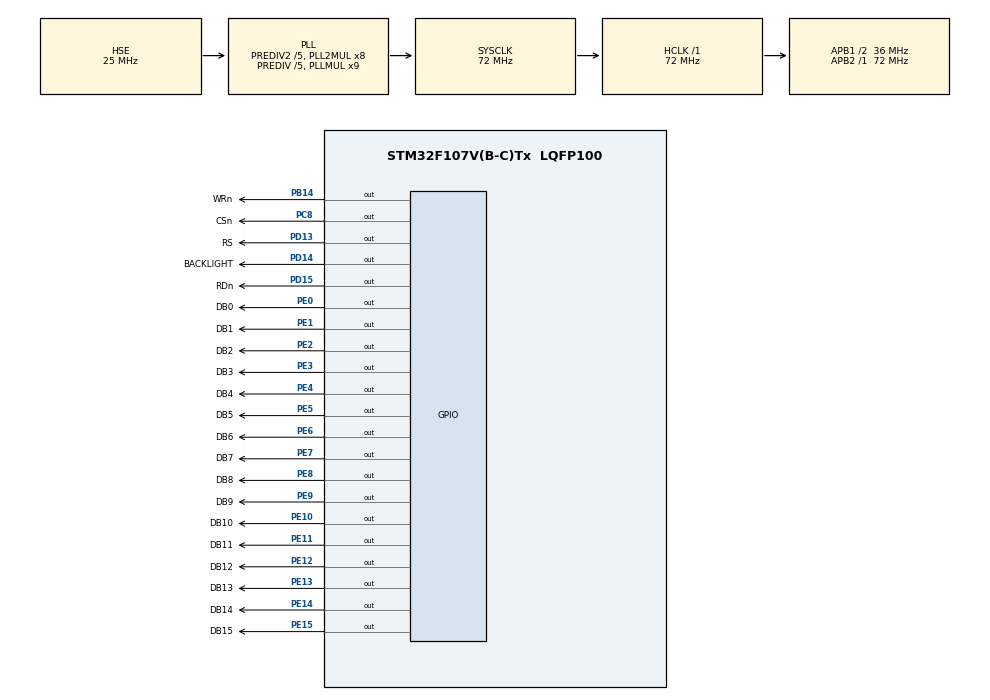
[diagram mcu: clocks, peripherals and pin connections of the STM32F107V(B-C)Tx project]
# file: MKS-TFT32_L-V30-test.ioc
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Mcu.Family=STM32F1
Mcu.Name=STM32F107V(B-C)Tx
Mcu.Package=LQFP100
NVIC.PriorityGroup=NVIC_PRIORITYGROUP_4
OSC_IN.Mode=HSE-External-Oscillator
OSC_IN.Signal=RCC_OSC_IN
OSC_OUT.Mode=HSE-External-Oscillator
OSC_OUT.Signal=RCC_OSC_OUT
PA13.Mode=Serial_Wire
PA13.Signal=SYS_JTMS-SWDIO
PA14.Mode=Serial_Wire
PA14.Signal=SYS_JTCK-SWCLK
PB14.GPIO_Label=WRn
PB14.Signal=GPIO_Output
PC14-OSC32_IN.Mode=LSE-External-Oscillator
PC14-OSC32_IN.Signal=RCC_OSC32_IN
PC15-OSC32_OUT.Mode=LSE-External-Oscillator
PC15-OSC32_OUT.Signal=RCC_OSC32_OUT
PC8.GPIO_Label=CSn
PC8.Signal=GPIO_Output
PD13.GPIO_Label=RS
PD13.Signal=GPIO_Output
PD14.GPIO_Label=BACKLIGHT
PD14.Signal=GPIO_Output
PD15.GPIO_Label=RDn
PD15.Signal=GPIO_Output
PE0.GPIO_Label=DB0
PE0.Signal=GPIO_Output
PE1.GPIO_Label=DB1
PE1.Signal=GPIO_Output
PE10.GPIO_Label=DB10
PE10.Signal=GPIO_Output
PE11.GPIO_Label=DB11
PE11.Signal=GPIO_Output
PE12.GPIO_Label=DB12
PE12.Signal=GPIO_Output
PE13.GPIO_Label=DB13
PE13.Signal=GPIO_Output
PE14.GPIO_Label=DB14
PE14.Signal=GPIO_Output
PE15.GPIO_Label=DB15
PE15.Signal=GPIO_Output
PE2.GPIO_Label=DB2
PE2.Signal=GPIO_Output
PE3.GPIO_Label=DB3
PE3.Signal=GPIO_Output
PE4.GPIO_Label=DB4
PE4.Signal=GPIO_Output
PE5.GPIO_Label=DB5
PE5.Signal=GPIO_Output
PE6.GPIO_Label=DB6
PE6.Signal=GPIO_Output
PE7.GPIO_Label=DB7
PE7.Signal=GPIO_Output
PE8.GPIO_Label=DB8
PE8.Signal=GPIO_Output
PE9.GPIO_Label=DB9
PE9.Signal=GPIO_Output
ProjectManager.HeapSize=0x200
ProjectManager.StackSize=0x400
ProjectManager.TargetToolchain=STM32CubeIDE
RCC.AHBFreq_Value=72000000
RCC.APB1CLKDivider=RCC_HCLK_DIV2
RCC.APB1Freq_Value=36000000
RCC.APB1TimFreq_Value=72000000
RCC.APB2Freq_Value=72000000
RCC.APB2TimFreq_Value=72000000
RCC.HCLKFreq_Value=72000000
RCC.HSEDivPLL=RCC_HSE_PREDIV_DIV5
RCC.HSE_VALUE=25000000
RCC.PLLMUL=RCC_PLL_MUL9
RCC.PLLSourceVirtual=RCC_PLLSOURCE_HSE
RCC.Prediv1Source=RCC_PREDIV1_SOURCE_PLL2
RCC.Prediv2=RCC_HSE_PREDIV2_DIV5
RCC.SYSCLKFreq_VALUE=72000000
RCC.SYSCLKSource=RCC_SYSCLKSOURCE_PLLCLK
RCC.USBFreq_Value=48000000
board=custom

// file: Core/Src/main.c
/* USER CODE BEGIN Header */
/**
 ******************************************************************************
 * @file           : main.c
 * @brief          : Main program body
 ******************************************************************************
 * @attention
 *
 * Copyright (c) 2025 STMicroelectronics.
 * All rights reserved.
 *
 * This software is licensed under terms that can be found in the LICENSE file
 * in the root directory of this software component.
 * If no LICENSE file comes with this software, it is provided AS-IS.
 *
 ******************************************************************************
 */
/* USER CODE END Header */
#include "main.h"

/* USER CODE BEGIN Includes */
#include "fonts.h"
#include "ili9325.h"
#include "lcd.h"
#include "lcd_io_gpio16.h"

/* USER CODE END Includes */

/* USER CODE BEGIN PD */

// Invertir bytes del 16-bit (LSB<->MSB en el bus):
#define MAP(c) (swap16(c))

/* USER CODE END PD */

void SystemClock_Config(void);
static void MX_GPIO_Init(void);

/* USER CODE BEGIN 0 */

// ---- utilidades de remapeo de color 565 sin tocar la lib ----
static inline uint8_t rev8(uint8_t x) { // invierte bits dentro del byte
  x = (x & 0xF0) >> 4 | (x & 0x0F) << 4;
  x = (x & 0xCC) >> 2 | (x & 0x33) << 2;
  x = (x & 0xAA) >> 1 | (x & 0x55) << 1;
  return x;
}
static inline uint16_t swap16(uint16_t v) { // invierte los bytes
  return (uint16_t)((v << 8) | (v >> 8));
}
static inline uint16_t
swap_rb(uint16_t c) { // intercambia R y B (RGB565 <-> BGR565)
  return (uint16_t)(((c & 0xF800) >> 11) | (c & 0x07E0) | ((c & 0x001F) << 11));
}

static void DrawChar_1bpp(uint16_t x, uint16_t y, char ch,

                          const sFONT *font,

                          uint16_t fg, uint16_t bg)

{

  if (ch < 32 || ch > 126)
    ch = '?';

  uint16_t w = font->Width;

  uint16_t h = font->Height;

  // bytes por fila = ceil(w/8)

  uint16_t rowBytes = (w + 7) >> 3;

  // offset del caracter dentro de la tabla

  uint32_t off = (uint32_t)(ch - 32) * h * rowBytes;

  for (uint16_t yy = 0; yy < h; yy++) {

    const uint8_t *row = &font->table[off + yy * rowBytes];

    uint8_t mask = 0x80;

    uint8_t byte = row[0];

    uint16_t bx = 0;

    for (uint16_t xx = 0; xx < w; xx++) {

      if ((xx & 7) == 0) {
        mask = 0x80;
        byte = row[xx >> 3];
      }

      uint16_t col = (byte & mask) ? fg : bg;

      mask >>= 1;

      ili9325_WritePixel(x + xx, y + yy, MAP(col));

      bx++;
    }
  }
}

void DrawString(uint16_t x, uint16_t y, const char *s,

                const sFONT *font, uint16_t fg, uint16_t bg)

{

  uint16_t cx = x;

  while (*s) {

    if (*s == '\n') {
      y += font->Height;
      cx = x;
      s++;
      continue;
    }

    DrawChar_1bpp(cx, y, *s, font, fg, bg);

    cx += font->Width;

    s++;
  }
}

/* USER CODE END 0 */

int main(void) {

  /* MCU Configuration--------------------------------------------------------*/

  /* Reset of all peripherals, Initializes the Flash interface and the Systick.
   */
  HAL_Init();

  /* Configure the system clock */
  SystemClock_Config();

  /* Initialize all configured peripherals */
  MX_GPIO_Init();
  /* USER CODE BEGIN 2 */
  LCD_IO_Init();
  LCD_IO_Bl_OnOff(1);

  // CS inactivo = 1, WR=1, RD=1, RS=1
  HAL_GPIO_WritePin(GPIOC, GPIO_PIN_8, GPIO_PIN_SET);  // CS
  HAL_GPIO_WritePin(GPIOB, GPIO_PIN_14, GPIO_PIN_SET); // WR
  HAL_GPIO_WritePin(GPIOD, GPIO_PIN_15, GPIO_PIN_SET); // RD
  HAL_GPIO_WritePin(GPIOD, GPIO_PIN_13, GPIO_PIN_SET); // RS

  ili9325_Init();
  ili9325_FillRect(0, 0, 240, 320, 0xF8F0);
  ili9325_FillRect(0, 0, 240, 320, 0xFFFF);

  HAL_Delay(200);

  ili9325_FillRect(0, 0, 240, 320, 0x0000);
  DrawString(10, 10, "ABCD", &Font24, 0xFFFF, 0x07E0);
  DrawString(10, 40, "TEST", &Font24, 0xF800, 0x0000);

  /* USER CODE END 2 */

  /* Infinite loop */
  while (1) {

    /* USER CODE BEGIN 3 */

    // Cambiar a RGB (bit12 = 1) + I/D = “right then down” (0x0030)
    LCD_IO_WriteCmd16(0x03);
    LCD_IO_WriteData16(0x1030); // RGB + X_RIGHT + Y_DOWN

    // Sin espejo (SS=0, GS=0), 320 líneas (NL = 0x27)
    LCD_IO_WriteCmd16(0x01);
    LCD_IO_WriteData16(0x0000); // SS=0

    // Barras de color
    ili9325_FillRect(0, 0, 240, 80, MAP(0xF800));   // ROJO
    ili9325_FillRect(0, 80, 240, 80, MAP(0x07E0));  // VERDE
    ili9325_FillRect(0, 160, 240, 80, MAP(0x001F)); // AZUL
    ili9325_FillRect(0, 240, 240, 80, MAP(0xFFFF)); // BLANCO

    DrawString(10, 10, "ROJO", &Font24, MAP(0xFFFF), MAP(0x0000));
    DrawString(10, 90, "VERDE", &Font24, MAP(0x0000), MAP(0x07E0));
    DrawString(10, 170, "AZUL", &Font24, MAP(0xFFFF), MAP(0x001F));

    HAL_Delay(1000);
  }
  /* USER CODE END 3 */
}

void SystemClock_Config(void) {

  // --- Limpieza de reloj para evitar el guard de PLL2 ---
  /* 1) Asegurar HSI encendido y conmutar SYSCLK a HSI */
  SET_BIT(RCC->CR, RCC_CR_HSION);
  while ((RCC->CR & RCC_CR_HSIRDY) == 0) { /* wait */
  }

  MODIFY_REG(RCC->CFGR, RCC_CFGR_SW, RCC_CFGR_SW_HSI);
  while ((RCC->CFGR & RCC_CFGR_SWS) != RCC_CFGR_SWS_HSI) { /* wait */
  }

  /* 2) Apagar PLL principal y PLL2 si estaban activos */
  if (RCC->CR & RCC_CR_PLLON) {
    CLEAR_BIT(RCC->CR, RCC_CR_PLLON);
    while (RCC->CR & RCC_CR_PLLRDY) { /* wait off */
    }
  }
  if (RCC->CR & RCC_CR_PLL2ON) {
    CLEAR_BIT(RCC->CR, RCC_CR_PLL2ON);
    while (RCC->CR & RCC_CR_PLL2RDY) { /* wait off */
    }
  }

  /* 3) (Opcional) Devolver PREDIV1SRC a HSE para que HAL pueda reconfigurar
   * PLL2 */
  CLEAR_BIT(RCC->CFGR2, RCC_CFGR2_PREDIV1SRC); // 0 = HSE como fuente de PREDIV1

  RCC_OscInitTypeDef RCC_OscInitStruct = {0};
  RCC_ClkInitTypeDef RCC_ClkInitStruct = {0};

  /** Initializes the RCC Oscillators according to the specified parameters
   * in the RCC_OscInitTypeDef structure.
   */
  RCC_OscInitStruct.OscillatorType = RCC_OSCILLATORTYPE_HSE;
  RCC_OscInitStruct.HSEState = RCC_HSE_ON;
  RCC_OscInitStruct.HSEPredivValue = RCC_HSE_PREDIV_DIV5;
  RCC_OscInitStruct.HSIState = RCC_HSI_ON;
  RCC_OscInitStruct.Prediv1Source = RCC_PREDIV1_SOURCE_PLL2;
  RCC_OscInitStruct.PLL.PLLState = RCC_PLL_ON;
  RCC_OscInitStruct.PLL.PLLSource = RCC_PLLSOURCE_HSE;
  RCC_OscInitStruct.PLL.PLLMUL = RCC_PLL_MUL9;
  RCC_OscInitStruct.PLL2.PLL2State = RCC_PLL2_ON;
  RCC_OscInitStruct.PLL2.PLL2MUL = RCC_PLL2_MUL8;
  RCC_OscInitStruct.PLL2.HSEPrediv2Value = RCC_HSE_PREDIV2_DIV5;
  if (HAL_RCC_OscConfig(&RCC_OscInitStruct) != HAL_OK) {
    Error_Handler();
  }

  /** Initializes the CPU, AHB and APB buses clocks
   */
  RCC_ClkInitStruct.ClockType = RCC_CLOCKTYPE_HCLK | RCC_CLOCKTYPE_SYSCLK |
                                RCC_CLOCKTYPE_PCLK1 | RCC_CLOCKTYPE_PCLK2;
  RCC_ClkInitStruct.SYSCLKSource = RCC_SYSCLKSOURCE_PLLCLK;
  RCC_ClkInitStruct.AHBCLKDivider = RCC_SYSCLK_DIV1;
  RCC_ClkInitStruct.APB1CLKDivider = RCC_HCLK_DIV2;
  RCC_ClkInitStruct.APB2CLKDivider = RCC_HCLK_DIV1;

  if (HAL_RCC_ClockConfig(&RCC_ClkInitStruct, FLASH_LATENCY_2) != HAL_OK) {
    Error_Handler();
  }

  /** Configure the Systick interrupt time
   */
  __HAL_RCC_PLLI2S_ENABLE();
}

static void MX_GPIO_Init(void) {
  GPIO_InitTypeDef GPIO_InitStruct = {0};

  /* GPIO Ports Clock Enable */
  __HAL_RCC_GPIOE_CLK_ENABLE();
  __HAL_RCC_GPIOC_CLK_ENABLE();
  __HAL_RCC_GPIOB_CLK_ENABLE();
  __HAL_RCC_GPIOD_CLK_ENABLE();
  __HAL_RCC_GPIOA_CLK_ENABLE();

  /*Configure GPIO pin Output Level */
  HAL_GPIO_WritePin(GPIOE,
                    DB2_Pin | DB3_Pin | DB4_Pin | DB5_Pin | DB6_Pin | DB7_Pin |
                        DB8_Pin | DB9_Pin | DB10_Pin | DB11_Pin | DB12_Pin |
                        DB13_Pin | DB14_Pin | DB15_Pin | DB0_Pin | DB1_Pin,
                    GPIO_PIN_RESET);

  /*Configure GPIO pin Output Level */
  HAL_GPIO_WritePin(WRn_GPIO_Port, WRn_Pin, GPIO_PIN_RESET);

  /*Configure GPIO pin Output Level */
  HAL_GPIO_WritePin(GPIOD, RS_Pin | BACKLIGHT_Pin | RDn_Pin, GPIO_PIN_RESET);

  /*Configure GPIO pin Output Level */
  HAL_GPIO_WritePin(CSn_GPIO_Port, CSn_Pin, GPIO_PIN_RESET);

  /*Configure GPIO pins : DB2_Pin DB3_Pin DB4_Pin DB5_Pin
                           DB6_Pin DB7_Pin DB8_Pin DB9_Pin
                           DB10_Pin DB11_Pin DB12_Pin DB13_Pin
                           DB14_Pin DB15_Pin DB0_Pin DB1_Pin */
  GPIO_InitStruct.Pin = DB2_Pin | DB3_Pin | DB4_Pin | DB5_Pin | DB6_Pin |
                        DB7_Pin | DB8_Pin | DB9_Pin | DB10_Pin | DB11_Pin |
                        DB12_Pin | DB13_Pin | DB14_Pin | DB15_Pin | DB0_Pin |
                        DB1_Pin;
  GPIO_InitStruct.Mode = GPIO_MODE_OUTPUT_PP;
  GPIO_InitStruct.Pull = GPIO_NOPULL;
  GPIO_InitStruct.Speed = GPIO_SPEED_FREQ_HIGH;
  HAL_GPIO_Init(GPIOE, &GPIO_InitStruct);

  /*Configure GPIO pin : WRn_Pin */
  GPIO_InitStruct.Pin = WRn_Pin;
  GPIO_InitStruct.Mode = GPIO_MODE_OUTPUT_PP;
  GPIO_InitStruct.Pull = GPIO_NOPULL;
  GPIO_InitStruct.Speed = GPIO_SPEED_FREQ_HIGH;
  HAL_GPIO_Init(WRn_GPIO_Port, &GPIO_InitStruct);

  /*Configure GPIO pins : RS_Pin BACKLIGHT_Pin RDn_Pin */
  GPIO_InitStruct.Pin = RS_Pin | BACKLIGHT_Pin | RDn_Pin;
  GPIO_InitStruct.Mode = GPIO_MODE_OUTPUT_PP;
  GPIO_InitStruct.Pull = GPIO_NOPULL;
  GPIO_InitStruct.Speed = GPIO_SPEED_FREQ_HIGH;
  HAL_GPIO_Init(GPIOD, &GPIO_InitStruct);

  /*Configure GPIO pin : CSn_Pin */
  GPIO_InitStruct.Pin = CSn_Pin;
  GPIO_InitStruct.Mode = GPIO_MODE_OUTPUT_PP;
  GPIO_InitStruct.Pull = GPIO_NOPULL;
  GPIO_InitStruct.Speed = GPIO_SPEED_FREQ_HIGH;
  HAL_GPIO_Init(CSn_GPIO_Port, &GPIO_InitStruct);

}

void Error_Handler(void) {
  __disable_irq();
  while (1) {
  }
}
#ifdef USE_FULL_ASSERT
/**
 * @brief  Reports the name of the source file and the source line number
 *         where the assert_param error has occurred.
 * @param  file: pointer to the source file name
 * @param  line: assert_param error line source number
 * @retval None
 */
void assert_failed(uint8_t *file, uint32_t line) {
  /* USER CODE BEGIN 6 */
  /* User can add his own implementation to report the file name and line
     number, ex: printf("Wrong parameters value: file %s on line %d\r\n", file,
     line) */
  /* USER CODE END 6 */
}
#endif /* USE_FULL_ASSERT */
